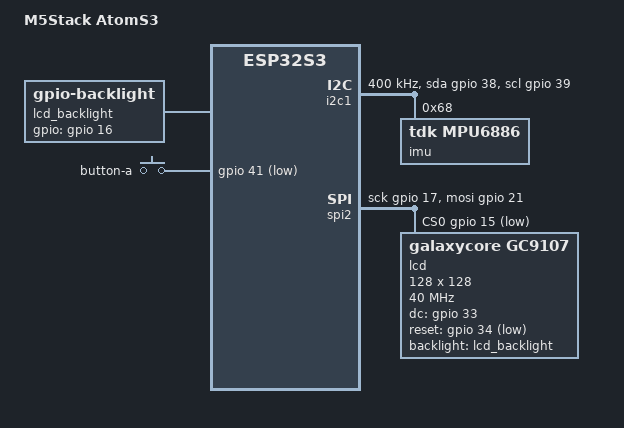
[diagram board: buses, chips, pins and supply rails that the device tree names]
/*
 * M5Stack AtomS3.
 * Sources: https://docs.m5stack.com/en/core/AtomS3 (schematic v1.0),
 *          M5GFX src/M5GFX.cpp (AtomS3 autodetect, MIT).
 */
/dts-v1/;

#include <soc/espressif/esp32s3.dtsi>
#include <kumiki/gpio.h>

/ {
	model = "M5Stack AtomS3";
	compatible = "m5stack,atoms3", "espressif,esp32s3";

	chosen {
		kumiki,display = &lcd;
		kumiki,imu = &imu;
	};

	lcd_backlight: backlight {
		compatible = "gpio-backlight";
		gpios = <&gpio 16 GPIO_ACTIVE_HIGH>;
	};

	buttons {
		compatible = "gpio-keys";
		button-a {
			gpios = <&gpio 41 GPIO_ACTIVE_LOW>; /* the screen is the button */
			kumiki,button = "a";
		};
	};

	kumiki,detect {
		compatible = "kumiki,board-detect";
		/* The IMU is on a daughter board and may be missing: identify by panel id. */
		panel-id {
			compatible = "kumiki,probe-dcs-id-3wire";
			display = <&lcd>;
			expect = [00 91 07];
		};
	};
};

&i2c1 {
	status = "okay";
	clock-frequency = <400000>;
	sda-gpios = <&gpio 38 GPIO_ACTIVE_HIGH>;
	scl-gpios = <&gpio 39 GPIO_ACTIVE_HIGH>;
	kumiki,bus-recovery;

	imu: imu@68 {
		compatible = "tdk,mpu6886";
		reg = <0x68>;
		kumiki,optional;
	};
};

&spi2 {
	status = "okay";
	sck-gpios = <&gpio 17 GPIO_ACTIVE_HIGH>;
	mosi-gpios = <&gpio 21 GPIO_ACTIVE_HIGH>;
	cs-gpios = <&gpio 15 GPIO_ACTIVE_LOW>;

	lcd: display@0 {
		compatible = "galaxycore,gc9107";
		reg = <0>;
		spi-max-frequency = <40000000>;
		dc-gpios = <&gpio 33 GPIO_ACTIVE_HIGH>;
		reset-gpios = <&gpio 34 GPIO_ACTIVE_LOW>;
		backlight = <&lcd_backlight>;
		width = <128>;
		height = <128>;
		kumiki,offset = <0 32>;
	};
};
